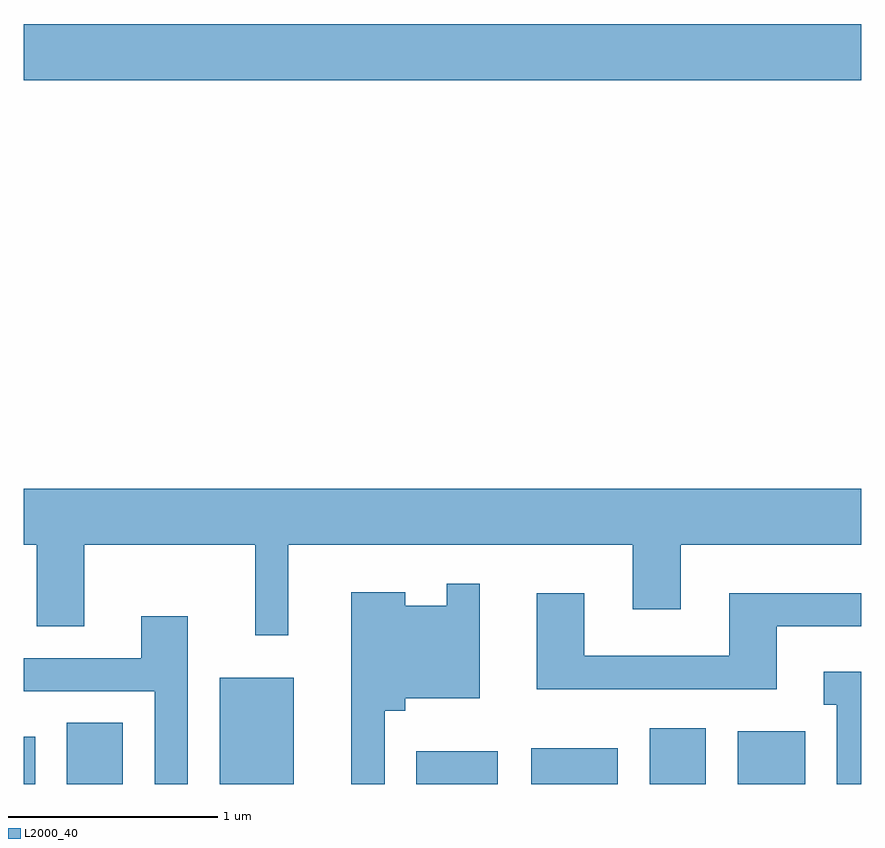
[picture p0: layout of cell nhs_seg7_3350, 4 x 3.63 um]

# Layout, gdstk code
import gdstk
lib = gdstk.Library(unit=1e-6, precision=1e-09)
def R(c, l, rs):  # rectangles x0, y0, x1, y1
    for r in rs: c.add(gdstk.rectangle(r[:2], r[2:], *l))
def P(c, l, *ps):  # polygons
    for p in ps: c.add(gdstk.Polygon(p, *l))
L2000_40 = (2000, 40)

nhs_seg7_3350 = lib.new_cell('nhs_seg7_3350')
R(nhs_seg7_3350, L2000_40, [(287.611,1744.252,287.664,1744.479), (287.816,1744.252,288.084,1744.544), (288.546,1744.252,288.899,1744.759), (289.486,1744.252,289.874,1744.409), (290.036,1744.252,290.449,1744.424), (290.601,1744.252,290.869,1744.519), (291.021,1744.252,291.344,1744.504), (287.611,1747.616,291.611,1747.884)])
P(nhs_seg7_3350, L2000_40, [(288.874,1745.396),(290.521,1745.396),(290.521,1745.086),(290.749,1745.086),(290.749,1745.396),(291.611,1745.396),(291.611,1745.664),(287.611,1745.664),(287.611,1745.396),(287.671,1745.396),(287.671,1745.006),(287.899,1745.006),(287.899,1745.396),(288.716,1745.396),(288.716,1744.963),(288.874,1744.963)],
  [(289.334,1744.601),(289.434,1744.601),(289.434,1744.661),(289.789,1744.661),(289.789,1745.208),(289.631,1745.208),(289.631,1745.104),(289.434,1745.104),(289.434,1745.169),(289.176,1745.169),(289.176,1744.252),(289.334,1744.252)],
  [(291.209,1745.006),(291.611,1745.006),(291.611,1745.164),(290.981,1745.164),(290.981,1744.864),(290.289,1744.864),(290.289,1745.164),(290.061,1745.164),(290.061,1744.706),(291.209,1744.706)],
  [(288.394,1745.054),(288.171,1745.054),(288.171,1744.854),(287.611,1744.854),(287.611,1744.696),(288.236,1744.696),(288.236,1744.252),(288.394,1744.252)],
  [(291.611,1744.789),(291.433,1744.789),(291.433,1744.631),(291.496,1744.631),(291.496,1744.252),(291.611,1744.252)])

lib.write_gds('nhs_seg7_3350.gds')
